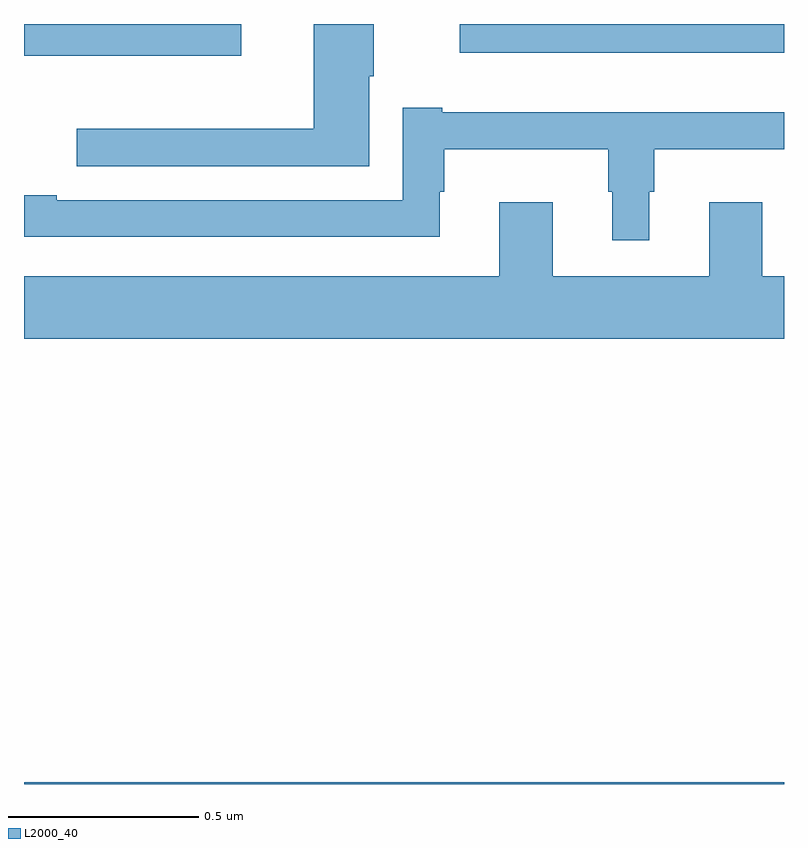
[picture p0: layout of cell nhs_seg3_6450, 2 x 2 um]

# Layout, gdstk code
import gdstk
lib = gdstk.Library(unit=1e-6, precision=1e-09)
def R(c, l, rs):  # rectangles x0, y0, x1, y1
    for r in rs: c.add(gdstk.rectangle(r[:2], r[2:], *l))
def P(c, l, *ps):  # polygons
    for p in ps: c.add(gdstk.Polygon(p, *l))
L2000_40 = (2000, 40)

nhs_seg3_6450 = lib.new_cell('nhs_seg3_6450')
R(nhs_seg3_6450, L2000_40, [(191,710.4,193,710.404), (191,712.316,191.572,712.4), (192.147,712.325,193,712.4)])
P(nhs_seg3_6450, L2000_40, [(191.908,712.263),(191.92,712.263),(191.92,712.4),(191.762,712.4),(191.762,712.124),(191.139,712.124),(191.139,712.026),(191.908,712.026)],
  [(192.646,711.959),(192.658,711.959),(192.658,712.07),(193,712.07),(193,712.168),(192.1,712.168),(192.1,712.18),(191.997,712.18),(191.997,711.936),(191.086,711.936),(191.086,711.949),(191,711.949),(191,711.84),(192.094,711.84),(192.094,711.959),(192.106,711.959),(192.106,712.07),(192.537,712.07),(192.537,711.959),(192.548,711.959),(192.548,711.831),(192.646,711.831)],
  [(193,711.736),(192.943,711.736),(192.943,711.931),(192.803,711.931),(192.803,711.736),(192.391,711.736),(192.391,711.931),(192.251,711.931),(192.251,711.736),(191,711.736),(191,711.572),(193,711.572)])

lib.write_gds('nhs_seg3_6450.gds')
